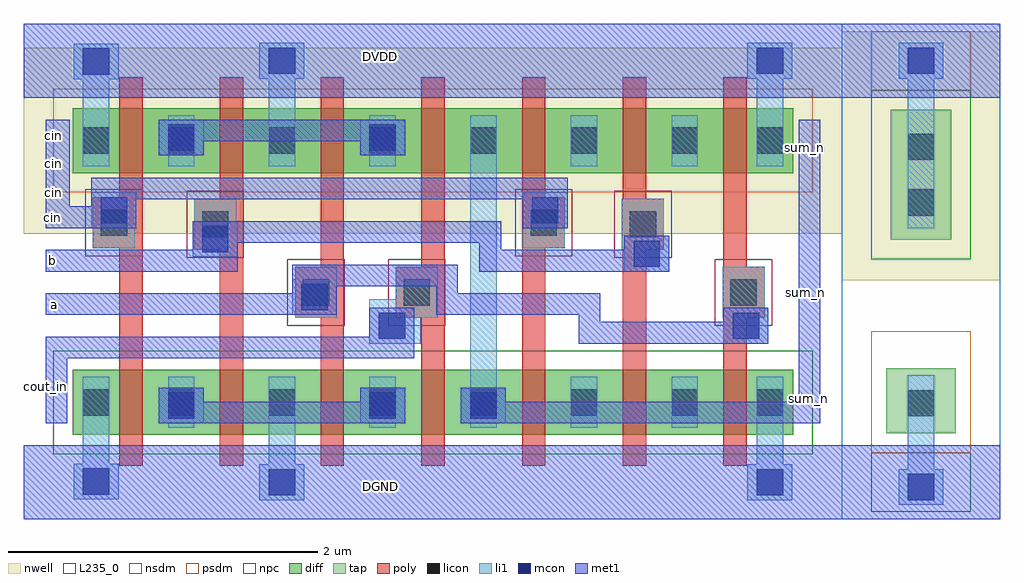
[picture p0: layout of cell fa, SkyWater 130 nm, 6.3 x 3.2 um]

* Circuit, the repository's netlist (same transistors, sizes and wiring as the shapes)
* NGSPICE file created from fa.ext - technology: sky130A

.subckt fa sum_n cin b a cout_in DVDD DGND
X0 a_n30_n64# b a_n160_n64# DGND sky130_fd_pr__nfet_01v8 ad=0.105 pd=0.92 as=0.105 ps=0.92 w=0.42 l=0.15
X1 a_n160_n64# cin sum_n DGND sky130_fd_pr__nfet_01v8 ad=0.105 pd=0.92 as=0.105 ps=0.92 w=0.42 l=0.15
X2 DGND b a_n680_n64# DGND sky130_fd_pr__nfet_01v8 ad=0.105 pd=0.92 as=0.105 ps=0.92 w=0.42 l=0.15
X3 a_n680_n64# a DGND DGND sky130_fd_pr__nfet_01v8 ad=0.105 pd=0.92 as=0.105 ps=0.92 w=0.42 l=0.15
X4 a_n30_274# b a_n160_274# DVDD sky130_fd_pr__pfet_01v8 ad=0.105 pd=0.92 as=0.105 ps=0.92 w=0.42 l=0.15
X5 sum_n cout_in a_n680_n64# DGND sky130_fd_pr__nfet_01v8 ad=0.105 pd=0.92 as=0.105 ps=0.92 w=0.42 l=0.15
X6 a_n680_n64# cin DGND DGND sky130_fd_pr__nfet_01v8 ad=0.105 pd=0.92 as=0.126 ps=1.44 w=0.42 l=0.15
X7 DGND a a_n30_n64# DGND sky130_fd_pr__nfet_01v8 ad=0.126 pd=1.44 as=0.105 ps=0.92 w=0.42 l=0.15
X8 a_n160_274# cin sum_n DVDD sky130_fd_pr__pfet_01v8 ad=0.105 pd=0.92 as=0.105 ps=0.92 w=0.42 l=0.15
X9 DVDD b a_n680_274# DVDD sky130_fd_pr__pfet_01v8 ad=0.105 pd=0.92 as=0.105 ps=0.92 w=0.42 l=0.15
X10 a_n680_274# a DVDD DVDD sky130_fd_pr__pfet_01v8 ad=0.105 pd=0.92 as=0.105 ps=0.92 w=0.42 l=0.15
X11 sum_n cout_in a_n680_274# DVDD sky130_fd_pr__pfet_01v8 ad=0.105 pd=0.92 as=0.105 ps=0.92 w=0.42 l=0.15
X12 a_n680_274# cin DVDD DVDD sky130_fd_pr__pfet_01v8 ad=0.105 pd=0.92 as=0.126 ps=1.44 w=0.42 l=0.15
X13 DVDD a a_n30_274# DVDD sky130_fd_pr__pfet_01v8 ad=0.126 pd=1.44 as=0.105 ps=0.92 w=0.42 l=0.15
.ends

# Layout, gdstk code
from math import pi, radians
import gdstk
lib = gdstk.Library(unit=1e-6, precision=1e-09)
def R(c, l, rs):  # rectangles x0, y0, x1, y1
    for r in rs: c.add(gdstk.rectangle(r[:2], r[2:], *l))
def A(c, l, x, y, w, h, nx, ny, dx, dy):  # array of equal rectangles
    R(c, l, [(x+i*dx, y+j*dy, x+i*dx+w, y+j*dy+h) for i in range(nx) for j in range(ny)])
nwell = (64, 20)
diff = (65, 20)
tap = (65, 44)
poly = (66, 20)
licon = (66, 44)
li1 = (67, 20)
mcon = (67, 44)
met1 = (68, 20)
nsdm = (93, 44)
psdm = (94, 20)
npc = (95, 20)
L235_0 = (235, 0)

nfet_1 = lib.new_cell('nfet$1')
R(nfet_1, diff, [(0,0,4.65,0.42)])
A(nfet_1, poly, 0.3, -0.2, 0.15, 0.82, 7, 1, 0.65, 0)
A(nfet_1, licon, 0.615, 0.125, 0.17, 0.17, 6, 1, 0.65, 0)
R(nfet_1, licon, [(0.065,0.125,0.235,0.295), (4.415,0.125,4.585,0.295)])
A(nfet_1, li1, 0.615, 0.045, 0.17, 0.33, 6, 1, 0.65, 0)
R(nfet_1, li1, [(0.065,0.045,0.235,0.375), (4.415,0.045,4.585,0.375)])
R(nfet_1, nsdm, [(-0.125,-0.125,4.775,0.545)])

vias_gen = lib.new_cell('vias_gen')
R(vias_gen, li1, [(0,0,0.29,0.23)])
R(vias_gen, mcon, [(0.06,0.03,0.23,0.2)])
R(vias_gen, met1, [(0,0,0.29,0.23)])

tap_ = lib.new_cell('tap')
R(tap_, nwell, [(-1.455,0.92,-0.435,2.525)])
R(tap_, tap, [(-1.17,-0.07,-0.72,0.35), (-1.14,1.18,-0.75,2.02)])
R(tap_, licon, [(-1.03,0.04,-0.86,0.21), (-1.03,1.335,-0.86,1.505), (-1.03,1.695,-0.86,1.865)])
R(tap_, li1, [(-1.03,-0.3,-0.86,-0.025), (-1.03,-0.025,-0.86,0.305), (-1.03,1.255,-0.86,1.945), (-1.03,1.945,-0.86,2.25)])
R(tap_, met1, [(-1.455,-0.625,-0.435,-0.145), (-1.455,2.095,-0.435,2.575)])
R(tap_, nsdm, [(-1.265,-0.575,-0.625,-0.195), (-1.265,1.055,-0.625,2.145)])
R(tap_, psdm, [(-1.265,-0.195,-0.625,0.59), (-1.265,2.145,-0.625,2.525)])
R(tap_, L235_0, [(-1.455,-0.625,-0.435,2.575)])
tap_.add(gdstk.Reference(vias_gen, (-1.09,-0.53)))
tap_.add(gdstk.Reference(vias_gen, (-1.09,2.22)))

vias_gen_1 = lib.new_cell('vias_gen$1')
R(vias_gen_1, li1, [(0,0,0.29,0.23)])
R(vias_gen_1, mcon, [(0.06,0.03,0.23,0.2)])
R(vias_gen_1, met1, [(0,0,0.29,0.23)])

vias_gen_2 = lib.new_cell('vias_gen$2')
R(vias_gen_2, poly, [(0,0,0.33,0.27)])
R(vias_gen_2, licon, [(0.08,0.05,0.25,0.22)])
R(vias_gen_2, li1, [(0,0,0.33,0.27)])
R(vias_gen_2, npc, [(-0.05,-0.05,0.38,0.32)])

vias_gen_3 = lib.new_cell('vias_gen$3')
R(vias_gen_3, li1, [(0,0,0.29,0.23)])
R(vias_gen_3, mcon, [(0.06,0.03,0.23,0.2)])
R(vias_gen_3, met1, [(0,0,0.29,0.23)])

vias_gen_4 = lib.new_cell('vias_gen$4')
R(vias_gen_4, li1, [(0,0,0.29,0.23)])
R(vias_gen_4, mcon, [(0.06,0.03,0.23,0.2)])
R(vias_gen_4, met1, [(0,0,0.29,0.23)])

pfet_1 = lib.new_cell('pfet$1')
R(pfet_1, nwell, [(-0.315,-0.39,4.965,0.81)])
R(pfet_1, diff, [(0,0,4.65,0.42)])
A(pfet_1, poly, 0.3, -0.2, 0.15, 0.82, 7, 1, 0.65, 0)
A(pfet_1, licon, 0.615, 0.125, 0.17, 0.17, 6, 1, 0.65, 0)
R(pfet_1, licon, [(0.065,0.125,0.235,0.295), (4.415,0.125,4.585,0.295)])
A(pfet_1, li1, 0.615, 0.045, 0.17, 0.33, 6, 1, 0.65, 0)
R(pfet_1, li1, [(0.065,0.045,0.235,0.375), (4.415,0.045,4.585,0.375)])
R(pfet_1, psdm, [(-0.125,-0.125,4.775,0.545)])

vias_gen_5 = lib.new_cell('vias_gen$5')
R(vias_gen_5, li1, [(0,0,0.29,0.23)])
R(vias_gen_5, mcon, [(0.06,0.03,0.23,0.2)])
R(vias_gen_5, met1, [(0,0,0.29,0.23)])

c_fa = lib.new_cell('fa')
R(c_fa, li1, [(-1.645,0.27,-1.605,0.435), (-1.935,0.5,-1.765,0.555)])
R(c_fa, met1, [(-4.165,-0.865,1.115,-0.385), (-4.025,-0.245,-3.885,0.175), (-4.025,1.155,-3.87,1.715), (-4.165,1.855,1.115,2.335)])
c_fa.add(gdstk.FlexPath([(-2.5,1.745),(-2.5,1.98)], 0.17, ends="flush", simple_path=True, layer=67, datatype=20))  # li1
c_fa.add(gdstk.FlexPath([(-3.7,1.74),(-3.7,1.975)], 0.17, ends="flush", simple_path=True, layer=67, datatype=20))  # li1
c_fa.add(gdstk.FlexPath([(0.65,1.745),(0.65,1.98)], 0.17, ends="flush", simple_path=True, layer=67, datatype=20))  # li1
c_fa.add(gdstk.FlexPath([(-1.2,1.415),(-1.2,0.055)], 0.17, ends="flush", simple_path=True, layer=67, datatype=20))  # li1
c_fa.add(gdstk.FlexPath([(-2.5,-0.275),(-2.5,-0.51)], 0.17, ends="flush", simple_path=True, layer=67, datatype=20))  # li1
c_fa.add(gdstk.FlexPath([(-3.7,-0.27),(-3.7,-0.505)], 0.17, ends="flush", simple_path=True, layer=67, datatype=20))  # li1
c_fa.add(gdstk.FlexPath([(0.65,-0.275),(0.65,-0.51)], 0.17, ends="flush", simple_path=True, layer=67, datatype=20))  # li1
c_fa.add(gdstk.FlexPath([(-1.055,-0.175),(0.905,-0.175),(0.905,1.715)], 0.14, ends="flush", simple_path=True, layer=68, datatype=20))  # met1
c_fa.add(gdstk.FlexPath([(-2.785,0.805),(-4.025,0.805)], 0.14, ends="flush", simple_path=True, layer=68, datatype=20))  # met1
c_fa.add(gdstk.FlexPath([(-2.435,0.525),(-4.025,0.525)], 0.14, ends="flush", simple_path=True, layer=68, datatype=20))  # met1
c_fa.add(gdstk.FlexPath([(-3.73,1.085),(-4.025,1.085)], 0.14, ends="flush", simple_path=True, layer=68, datatype=20))  # met1
c_fa.add(gdstk.FlexPath([(-1.645,0.245),(-4.025,0.245)], 0.14, ends="flush", simple_path=True, layer=68, datatype=20))  # met1
c_fa.add(gdstk.FlexPath([(-3.005,-0.175),(-1.995,-0.175)], 0.14, ends="flush", simple_path=True, layer=68, datatype=20))  # met1
c_fa.add(gdstk.FlexPath([(-3.005,1.645),(-1.995,1.645)], 0.14, ends="flush", simple_path=True, layer=68, datatype=20))  # met1
c_fa.add(gdstk.FlexPath([(-3.73,1.27),(-0.655,1.27)], 0.14, ends="flush", simple_path=True, layer=68, datatype=20))  # met1
c_fa.add(gdstk.FlexPath([(-1.085,0.805),(-0.29,0.805)], 0.14, ends="flush", simple_path=True, layer=68, datatype=20))  # met1
c_fa.add(gdstk.FlexPath([(-1.155,0.735),(-1.155,1.06)], 0.14, ends="flush", simple_path=True, layer=68, datatype=20))  # met1
c_fa.add(gdstk.FlexPath([(-1.225,0.99),(-2.785,0.99)], 0.14, ends="flush", simple_path=True, layer=68, datatype=20))  # met1
c_fa.add(gdstk.FlexPath([(-0.445,0.34),(0.35,0.34)], 0.14, ends="flush", simple_path=True, layer=68, datatype=20))  # met1
c_fa.add(gdstk.FlexPath([(-0.515,0.27),(-0.515,0.595)], 0.14, ends="flush", simple_path=True, layer=68, datatype=20))  # met1
c_fa.add(gdstk.FlexPath([(-0.585,0.525),(-1.365,0.525)], 0.14, ends="flush", simple_path=True, layer=68, datatype=20))  # met1
c_fa.add(gdstk.FlexPath([(-1.435,0.455),(-1.435,0.71),(-2.435,0.71)], 0.14, ends="flush", simple_path=True, layer=68, datatype=20))  # met1
c_fa.add(gdstk.FlexPath([(0.425,0.3),(0.425,1.17)], 0.15, ends="flush", simple_path=True, layer=66, datatype=20))  # poly
c_fa.add(gdstk.FlexPath([(-0.225,0.3),(-0.225,1.17)], 0.15, ends="flush", simple_path=True, layer=66, datatype=20))  # poly
c_fa.add(gdstk.FlexPath([(-0.875,0.3),(-0.875,1.17)], 0.15, ends="flush", simple_path=True, layer=66, datatype=20))  # poly
c_fa.add(gdstk.FlexPath([(-1.525,0.3),(-1.525,1.17)], 0.15, ends="flush", simple_path=True, layer=66, datatype=20))  # poly
c_fa.add(gdstk.FlexPath([(-2.175,0.3),(-2.175,1.17)], 0.15, ends="flush", simple_path=True, layer=66, datatype=20))  # poly
c_fa.add(gdstk.FlexPath([(-2.825,0.3),(-2.825,1.17)], 0.15, ends="flush", simple_path=True, layer=66, datatype=20))  # poly
c_fa.add(gdstk.FlexPath([(-3.475,0.3),(-3.475,1.17)], 0.15, ends="flush", simple_path=True, layer=66, datatype=20))  # poly
c_fa.add(gdstk.Reference(nfet_1, (-3.85,-0.32)))
c_fa.add(gdstk.Reference(tap_, (2.57,-0.24)))
c_fa.add(gdstk.Reference(vias_gen_1, (-2.645,-0.74)))
c_fa.add(gdstk.Reference(vias_gen_1, (-3.845,-0.735)))
c_fa.add(gdstk.Reference(vias_gen_2, (-3.45,0.885), rotation=pi/2))
c_fa.add(gdstk.Reference(vias_gen_2, (-2.795,0.875), rotation=pi/2))
c_fa.add(gdstk.Reference(vias_gen_2, (-2.145,0.435), rotation=pi/2))
c_fa.add(gdstk.Reference(vias_gen_3, (0.505,-0.74)))
c_fa.add(gdstk.Reference(vias_gen_2, (-0.675,0.885), rotation=pi/2))
c_fa.add(gdstk.Reference(vias_gen_2, (-1.495,0.435), rotation=pi/2))
c_fa.add(gdstk.Reference(vias_gen_4, (-3.73,1.015)))
c_fa.add(gdstk.Reference(vias_gen_2, (0.615,0.435), rotation=pi/2))
c_fa.add(gdstk.Reference(vias_gen_4, (-2.645,2.21), x_reflection=True))
c_fa.add(gdstk.Reference(vias_gen_4, (-0.945,1.015)))
c_fa.add(gdstk.Reference(vias_gen_2, (-0.035,0.875), rotation=pi/2))
c_fa.add(gdstk.Reference(vias_gen_3, (-3.295,-0.245)))
c_fa.add(gdstk.Reference(vias_gen_4, (-3.075,0.83)))
c_fa.add(gdstk.Reference(vias_gen_4, (-0.29,0.735)))
c_fa.add(gdstk.Reference(pfet_1, (-3.85,1.37)))
c_fa.add(gdstk.Reference(vias_gen_4, (-3.845,2.205), x_reflection=True))
c_fa.add(gdstk.Reference(vias_gen_4, (0.505,2.21), x_reflection=True))
c_fa.add(gdstk.Reference(vias_gen_4, (-1.995,-0.245)))
c_fa.add(gdstk.Reference(vias_gen_4, (-3.295,1.715), x_reflection=True))
c_fa.add(gdstk.Reference(vias_gen_4, (-1.995,1.715), x_reflection=True))
c_fa.add(gdstk.Reference(vias_gen_4, (-2.435,0.455)))
c_fa.add(gdstk.Reference(vias_gen_4, (0.35,0.27)))
c_fa.add(gdstk.Reference(vias_gen_4, (-1.935,0.27)))
c_fa.add(gdstk.Reference(vias_gen_5, (-1.345,-0.245)))
c_fa.add(gdstk.Label('sum_n', (0.87,1.535), layer=68, texttype=5))
c_fa.add(gdstk.Label('sum_n', (0.88,0.6), layer=68, texttype=5))
c_fa.add(gdstk.Label('sum_n', (0.9,-0.085), layer=68, texttype=5))
c_fa.add(gdstk.Label('cin', (-3.975,1.615), layer=68, texttype=5))
c_fa.add(gdstk.Label('cin', (-3.975,1.435), layer=68, texttype=5))
c_fa.add(gdstk.Label('cin', (-3.975,1.245), layer=68, texttype=5))
c_fa.add(gdstk.Label('cin', (-3.98,1.085), layer=68, texttype=5))
c_fa.add(gdstk.Label('b', (-3.98,0.805), layer=68, texttype=5))
c_fa.add(gdstk.Label('a', (-3.965,0.525), layer=68, texttype=5))
c_fa.add(gdstk.Label('cout_in', (-4.025,-0.01), layer=68, texttype=5))
c_fa.add(gdstk.Label('DVDD', (-1.865,2.125), layer=68, texttype=5))
c_fa.add(gdstk.Label('DGND', (-1.865,-0.655), layer=68, texttype=5))

lib.write_gds('fa.gds')
